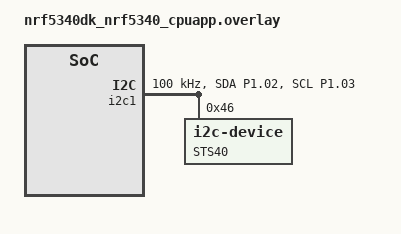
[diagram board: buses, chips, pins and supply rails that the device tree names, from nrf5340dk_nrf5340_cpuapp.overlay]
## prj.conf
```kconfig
# nothing here
CONFIG_I2C=y
CONFIG_SENSOR=y
CONFIG_STDOUT_CONSOLE=y
CONFIG_CBPRINTF_FP_SUPPORT=y
# I2C
CONFIG_NRFX_TWIM1=y
# Rebooot
CONFIG_REBOOT=n
CONFIG_RESET_ON_FATAL_ERROR=n
```

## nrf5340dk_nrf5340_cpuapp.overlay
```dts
&pinctrl {
	i2c1_default_alt: i2c1_default_alt {
		group2 {
			psels = <NRF_PSEL(TWIM_SDA, 1, 02)>, <NRF_PSEL(TWIM_SCL, 1, 03)>;
			bias-pull-up;
		};
	};

	i2c1_default_sleep: i2c1_default_sleep {
		group3 {
			psels = <NRF_PSEL(TWIM_SDA, 1, 02)>, <NRF_PSEL(TWIM_SCL, 1, 03)>;
			low-power-enable;
		};
	};
};


&i2c1 {
	status = "okay";
	compatible = "nordic,nrf-twim";
	pinctrl-0 = <&i2c1_default_alt>;
	pinctrl-1 = <&i2c1_default_sleep>;
	pinctrl-names = "default", "sleep";
	clock-frequency = < I2C_BITRATE_STANDARD >;
    sts40: sts40@46 {    /* STS40 I2C address is 0x46 */
        compatible = "i2c-device";
        status = "okay";
        reg = <0x46>;
        label = "STS40";

    };
};
```

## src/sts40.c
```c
#include "sts40.h"

/* Initialize the STS40 sensor */
int sts40_init(const struct sts40_data *dev) {
    if (!device_is_ready(dev->i2c.bus)) {
        printk("I2C bus %s is not ready!\n\r", dev->i2c.bus->name);
        return -1;
    }
    printk("I2C bus %s is ready!\n\r", dev->i2c.bus->name);
    return 0;
}

/* Read temperature from the STS40 sensor */
int sts40_read_temperature(const struct sts40_data *dev, float *temperature) {
    uint8_t tx_data[1] = {0xFD}; // Command to trigger temperature measurement
    int ret;

    /* Send the measurement command */
    ret = i2c_write_dt(&dev->i2c, tx_data, sizeof(tx_data));
    if (ret != 0) {
        printk("Failed to write to I2C device address 0x%X, error %d\n", dev->i2c.addr, ret);
        return -1;
    }

    /* Wait for measurement */
    k_msleep(10);

    /* Read the temperature data */
    uint8_t rx_data[3];
    ret = i2c_read_dt(&dev->i2c, rx_data, sizeof(rx_data));
    if (ret < 0) {
        printk("Failed to read from STS40 sensor, error %d\n", ret);
        return -1;
    }

    /* Calculate temperature */
    int t_ticks = (rx_data[0] << 8) | rx_data[1];
    *temperature = -45.0 + 175.0 * (float)t_ticks / 65535.0;

    return 0;
}
```

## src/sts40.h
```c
#ifndef STS40_H
#define STS40_H

#include <zephyr/kernel.h>
#include <zephyr/device.h>
#include <zephyr/devicetree.h>
#include <zephyr/drivers/i2c.h>

#define I2C1_NODE DT_NODELABEL(sts40)

/* Structure to hold the STS40 sensor data */
struct sts40_data {
    const struct i2c_dt_spec i2c;
};

/* Function prototypes */
int sts40_init(const struct sts40_data *dev);
int sts40_read_temperature(const struct sts40_data *dev, float *temperature);

#endif /* STS40_H */
```
